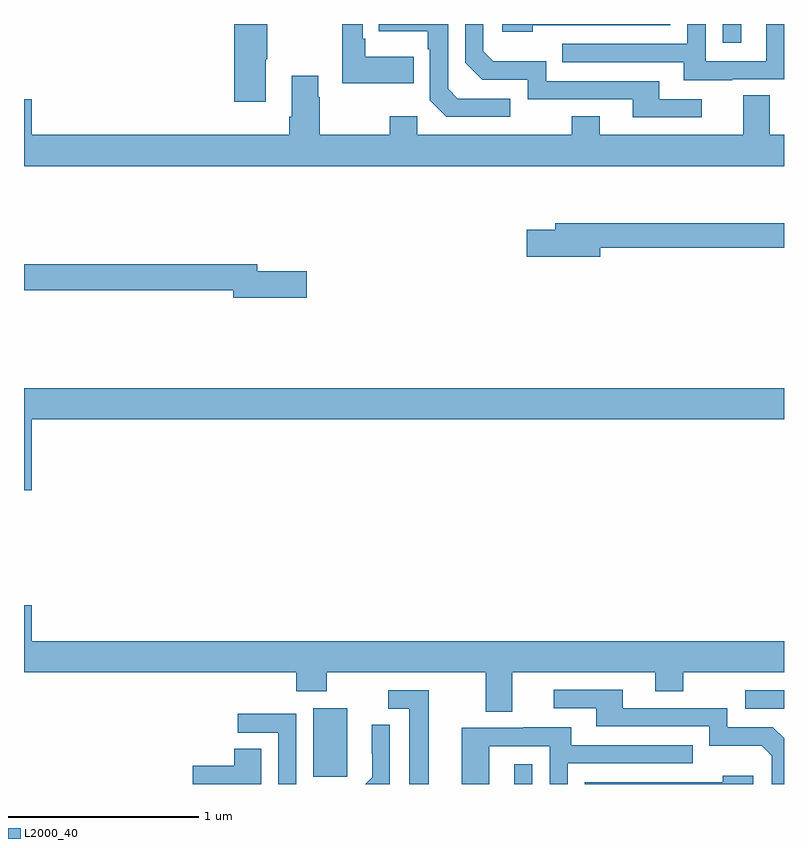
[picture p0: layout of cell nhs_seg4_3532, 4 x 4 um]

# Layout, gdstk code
import gdstk
lib = gdstk.Library(unit=1e-6, precision=1e-09)
def R(c, l, rs):  # rectangles x0, y0, x1, y1
    for r in rs: c.add(gdstk.rectangle(r[:2], r[2:], *l))
def P(c, l, *ps):  # polygons
    for p in ps: c.add(gdstk.Polygon(p, *l))
L2000_40 = (2000, 40)

nhs_seg4_3532 = lib.new_cell('nhs_seg4_3532')
R(nhs_seg4_3532, L2000_40, [(299.579,794.9,299.676,795.004), (298.523,794.937,298.702,795.298), (300.795,795.297,301,795.393), (300.678,798.801,300.775,798.9)])
P(nhs_seg4_3532, L2000_40, [(299.56,798.507),(299.283,798.507),(299.232,798.558),(299.232,798.9),(298.867,798.9),(298.867,798.863),(299.124,798.863),(299.124,798.767),(299.136,798.767),(299.136,798.498),(299.223,798.411),(299.56,798.411)],
  [(300.568,798.504),(300.343,798.504),(300.343,798.6),(299.748,798.6),(299.748,798.703),(299.471,798.703),(299.418,798.756),(299.418,798.9),(299.322,798.9),(299.322,798.696),(299.412,798.606),(299.652,798.606),(299.652,798.504),(300.203,798.504),(300.203,798.408),(300.568,798.408)],
  [(300.727,798.609),(301,798.609),(301,798.9),(300.906,798.9),(300.906,798.705),(300.588,798.705),(300.588,798.9),(300.492,798.9),(300.492,798.795),(299.833,798.795),(299.833,798.699),(300.473,798.699),(300.473,798.605),(300.727,798.605)],
  [(299.678,798.894),(300.402,798.894),(300.402,798.9),(299.517,798.9),(299.517,798.86),(299.678,798.86)],
  [(299.051,798.727),(298.795,798.727),(298.795,798.823),(298.782,798.823),(298.782,798.9),(298.674,798.9),(298.674,798.587),(299.051,798.587)],
  [(298.273,798.715),(298.281,798.715),(298.281,798.9),(298.106,798.9),(298.106,798.492),(298.273,798.492)],
  [(301,798.316),(300.925,798.316),(300.925,798.524),(300.785,798.524),(300.785,798.316),(300.031,798.316),(300.031,798.415),(299.884,798.415),(299.884,798.316),(299.07,798.316),(299.07,798.415),(298.924,798.415),(298.924,798.316),(298.557,798.316),(298.557,798.515),(298.549,798.515),(298.549,798.628),(298.409,798.628),(298.409,798.412),(298.397,798.412),(298.397,798.316),(297.04,798.316),(297.04,798.505),(297,798.505),(297,798.152),(301,798.152)],
  [(300.034,797.722),(301,797.722),(301,797.851),(299.795,797.851),(299.795,797.817),(299.646,797.817),(299.646,797.675),(300.034,797.675)],
  [(298.489,797.6),(298.228,797.6),(298.228,797.636),(297,797.636),(297,797.5),(298.1,797.5),(298.1,797.458),(298.489,797.458)],
  [(297.04,796.82),(301,796.82),(301,796.984),(297,796.984),(297,796.446),(297.04,796.446)],
  [(299.569,795.488),(300.323,795.488),(300.323,795.389),(300.471,795.389),(300.471,795.488),(301,795.488),(301,795.652),(297.04,795.652),(297.04,795.841),(297,795.841),(297,795.488),(298.433,795.488),(298.433,795.389),(298.593,795.389),(298.593,795.488),(299.429,795.488),(299.429,795.28),(299.569,795.28)],
  [(301,795.14),(300.942,795.198),(300.702,795.198),(300.702,795.3),(300.151,795.3),(300.151,795.396),(299.787,795.396),(299.787,795.3),(300.011,795.3),(300.011,795.204),(300.606,795.204),(300.606,795.101),(300.883,795.101),(300.936,795.048),(300.936,794.9),(301,794.9)],
  [(299.131,795.393),(298.917,795.393),(298.917,795.297),(299.027,795.297),(299.027,794.9),(299.131,794.9)],
  [(298.434,795.27),(298.125,795.27),(298.125,795.171),(298.338,795.171),(298.338,794.9),(298.434,794.9)],
  [(298.926,795.212),(298.83,795.212),(298.83,795.058),(298.832,795.058),(298.832,794.936),(298.796,794.9),(298.926,794.9)],
  [(299.448,795.099),(299.766,795.099),(299.766,794.9),(299.862,794.9),(299.862,795.009),(300.521,795.009),(300.521,795.105),(299.881,795.105),(299.881,795.199),(299.627,795.199),(299.627,795.195),(299.303,795.195),(299.303,794.9),(299.448,794.9)],
  [(298.249,795.086),(298.106,795.086),(298.106,794.996),(297.888,794.996),(297.888,794.9),(298.249,794.9)],
  [(300.838,794.944),(300.677,794.944),(300.677,794.91),(299.952,794.91),(299.952,794.9),(300.838,794.9)])

lib.write_gds('nhs_seg4_3532.gds')
